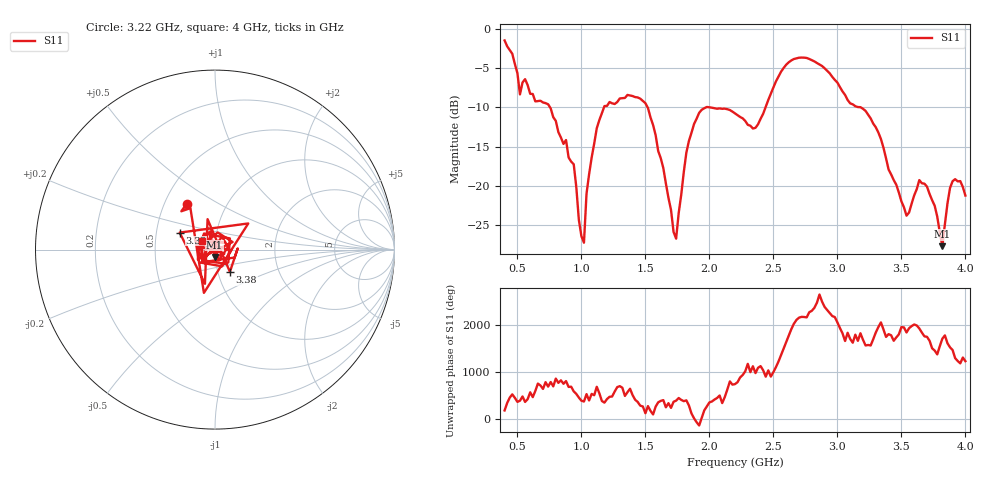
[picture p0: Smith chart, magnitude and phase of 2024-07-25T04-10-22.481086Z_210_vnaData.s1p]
!Created with skrf (http://scikit-rf.org).
# Hz S RI R 50.0
!freq ReS11 ImS11
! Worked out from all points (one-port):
!   181 points, 400 MHz to 4 GHz, reference 50 ohm
!   lowest |S11| = -27.7 dB at 3.82 GHz (marker M1), VSWR 1.09, Z = 49.6 - j4.08 ohm
!   |S11| at or under -10 dB: 755 MHz to 1.177 GHz (421.6 MHz wide, 43.7 % of centre); 1.517 GHz to 1.974 GHz (457.1 MHz wide, 26.2 % of centre); 3.182 GHz to end of sweep (the widest 3 of 4)
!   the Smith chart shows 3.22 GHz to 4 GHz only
!   S11 on the Smith chart (normalised r, x): 3.22 GHz: 0.65, +0.36; 3.32 GHz: 0.66, +0.13; 3.38 GHz: 1.14, -0.29; 4 GHz: 0.86, +0.09
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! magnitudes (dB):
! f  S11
! 400 MHz  -1.5
! 520 MHz  -8.3
! 560 MHz  -6.4
! 740 MHz  -9.6
! 860 MHz  -14.7
! 940 MHz  -17.3
! 980 MHz  -24.4
! 1.02 GHz  -27.3
! 1.04 GHz  -21.0
! 1.12 GHz  -12.7
! 1.3 GHz  -8.9
! 1.52 GHz  -10.1
! 1.72 GHz  -25.9
! 1.76 GHz  -23.5
! 1.82 GHz  -15.8
! 1.92 GHz  -10.7
! 2.2 GHz  -10.8
! 2.36 GHz  -12.6
! 2.66 GHz  -3.8
! 3.1 GHz  -9.5
! 3.22 GHz  -10.5
! 3.32 GHz  -13.2
! 3.38 GHz  -16.5
! 3.56 GHz  -23.4
! 3.68 GHz  -19.7
! 3.82 GHz  -27.7
! 3.9 GHz  -19.4
! 4 GHz  -21.3
